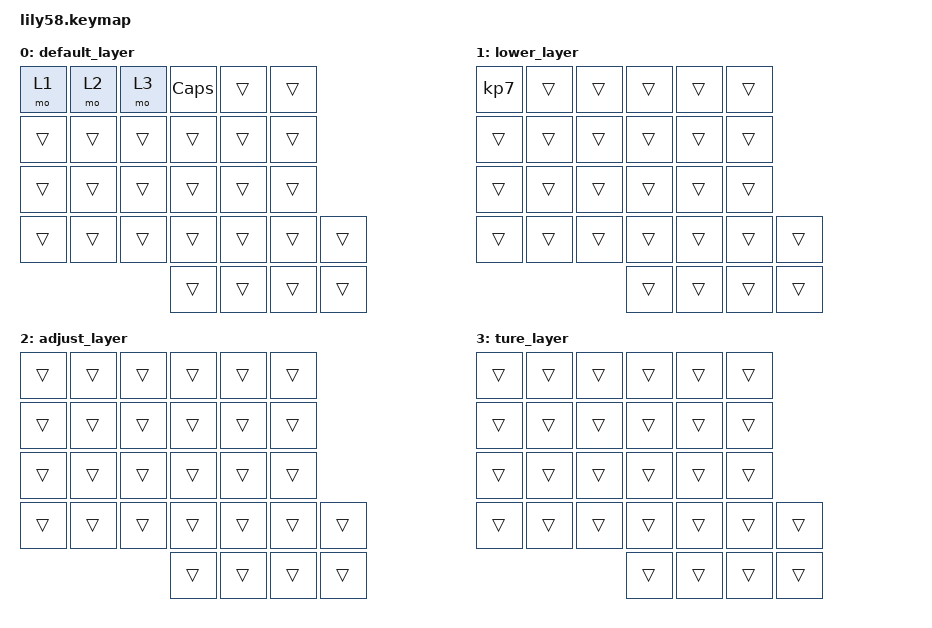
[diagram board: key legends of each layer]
/*
 * Copyright (c) 2020 The ZMK Contributors
 *
 * SPDX-License-Identifier: MIT
 */

#include <behaviors.dtsi>
#include <dt-bindings/zmk/keys.h>
#include <dt-bindings/zmk/bt.h>
#include <dt-bindings/zmk/ext_power.h>
#include <dt-bindings/zmk/rgb.h>
/ {
    keymap {
        compatible = "zmk,keymap";

        default_layer {

            bindings = <
&mo 1   &mo 2 &mo 3 &kp CAPSLOCK  &trans   &trans                    
&trans   &trans &trans &trans   &trans   &trans                     
&trans   &trans &trans &trans   &trans   &trans                      
&trans   &trans &trans &trans   &trans   &trans    &trans
                       &trans   &trans   &trans    &trans  
            >;
        };

        lower_layer {

            bindings = <
&kp KP_NUMBER_7   &trans &trans &trans   &trans   &trans                    
&trans   &trans &trans &trans   &trans   &trans                     
&trans   &trans &trans &trans   &trans   &trans                      
&trans   &trans &trans &trans   &trans   &trans    &trans
                       &trans   &trans   &trans    &trans  
            >;
        };

        adjust_layer {

            bindings = <
&trans   &trans &trans &trans   &trans   &trans                    
&trans   &trans &trans &trans   &trans   &trans                     
&trans   &trans &trans &trans   &trans   &trans                      
&trans   &trans &trans &trans   &trans   &trans    &trans
                       &trans   &trans   &trans    &trans  
            >;
        };
        ture_layer {

            bindings = <
&trans   &trans &trans &trans   &trans   &trans                    
&trans   &trans &trans &trans   &trans   &trans                     
&trans   &trans &trans &trans   &trans   &trans                      
&trans   &trans &trans &trans   &trans   &trans    &trans
                       &trans   &trans   &trans    &trans  
            >;
        };
    };
};
